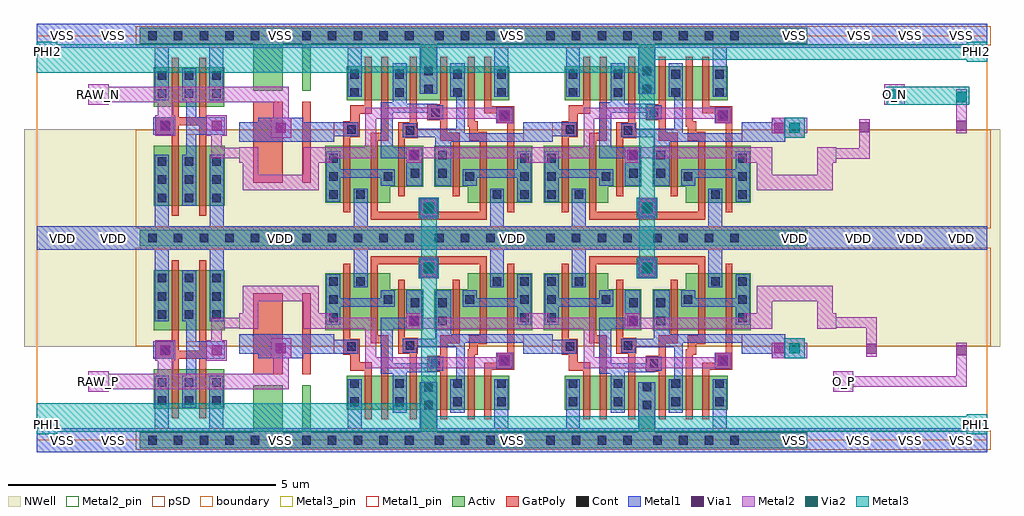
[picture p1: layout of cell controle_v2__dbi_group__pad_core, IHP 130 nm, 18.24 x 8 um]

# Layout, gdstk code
import gdstk
lib = gdstk.Library(unit=1e-6, precision=1e-09)
def R(c, l, rs):  # rectangles x0, y0, x1, y1
    for r in rs: c.add(gdstk.rectangle(r[:2], r[2:], *l))
def A(c, l, x, y, w, h, nx, ny, dx, dy):  # array of equal rectangles
    R(c, l, [(x+i*dx, y+j*dy, x+i*dx+w, y+j*dy+h) for i in range(nx) for j in range(ny)])
def P(c, l, *ps):  # polygons
    for p in ps: c.add(gdstk.Polygon(p, *l))
Activ = (1, 0)
GatPoly = (5, 0)
Cont = (6, 0)
Metal1 = (8, 0)
Metal1_pin = (8, 2)
Metal2 = (10, 0)
Metal2_pin = (10, 2)
pSD = (14, 0)
Via1 = (19, 0)
Via2 = (29, 0)
Metal3 = (30, 0)
Metal3_pin = (30, 2)
NWell = (31, 0)
boundary = (189, 4)

controle_v2__dbi_group__ = lib.new_cell('controle_v2__dbi_group__sg13cmos5l_inv_2')
R(controle_v2__dbi_group__, Activ, [(0,-0.15,1.92,0.15), (0.265,0.59,1.585,1.33), (0.265,2.06,1.59,3.18), (0,3.63,1.92,3.93)])
P(controle_v2__dbi_group__, GatPoly, [(0.605,0.41),(0.605,1.52),(0.305,1.52),(0.305,1.85),(0.605,1.85),(0.605,3.36),(0.735,3.36),(0.735,1.67),(1.115,1.67),(1.115,3.36),(1.245,3.36),(1.245,0.41),(1.115,0.41),(1.115,1.52),(0.735,1.52),(0.735,0.41)])
A(controle_v2__dbi_group__, Cont, 0.335, 0.66, 0.16, 0.16, 3, 2, 0.51, 0.34)
A(controle_v2__dbi_group__, Cont, 0.335, 2.27, 0.16, 0.16, 1, 3, 0, 0.34)
A(controle_v2__dbi_group__, Cont, 0.845, 2.27, 0.16, 0.16, 1, 3, 0, 0.34)
A(controle_v2__dbi_group__, Cont, 1.36, 2.27, 0.16, 0.16, 1, 3, 0, 0.34)
R(controle_v2__dbi_group__, Cont, [(0.16,-0.08,0.32,0.08), (0.16,-0.08,0.32,0.08), (0.64,-0.08,0.8,0.08), (0.64,-0.08,0.8,0.08), (1.12,-0.08,1.28,0.08), (1.12,-0.08,1.28,0.08), (1.6,-0.08,1.76,0.08), (1.6,-0.08,1.76,0.08), (0.39,1.605,0.55,1.765), (0.16,3.7,0.32,3.86), (0.16,3.7,0.32,3.86), (0.64,3.7,0.8,3.86), (0.64,3.7,0.8,3.86), (1.12,3.7,1.28,3.86), (1.12,3.7,1.28,3.86), (1.6,3.7,1.76,3.86), (1.6,3.7,1.76,3.86)])
R(controle_v2__dbi_group__, Metal1, [(0.255,1.52,0.635,1.85)])
P(controle_v2__dbi_group__, Metal1, [(0.795,0.61),(0.795,1.21),(0.87,1.21),(0.87,2.22),(0.795,2.22),(0.795,3.18),(1.055,3.18),(1.055,1.85),(1.59,1.85),(1.59,1.52),(1.055,1.52),(1.055,0.61)],
  [(0,-0.22),(0,0.22),(0.285,0.22),(0.285,1.21),(0.545,1.21),(0.545,0.22),(1.305,0.22),(1.305,1.21),(1.565,1.21),(1.565,0.22),(1.92,0.22),(1.92,-0.22)],
  [(0.285,2.22),(0.285,3.56),(0,3.56),(0,4),(1.92,4),(1.92,3.56),(1.57,3.56),(1.57,2.22),(1.31,2.22),(1.31,3.56),(0.545,3.56),(0.545,2.22)])
R(controle_v2__dbi_group__, Metal1_pin, [(0,-0.22,1.92,0.22), (0.255,1.52,0.635,1.85), (0.87,1.52,1.59,1.85), (0,3.56,1.92,4)])
R(controle_v2__dbi_group__, pSD, [(-0.07,-0.18,1.99,0.18), (-0.07,1.76,1.99,3.6)])
R(controle_v2__dbi_group__, NWell, [(-0.24,1.75,2.16,4.17)])
R(controle_v2__dbi_group__, boundary, [(0,0,1.92,3.78)])
controle_v2__dbi_group__.add(gdstk.Label('A', (0.48,1.68), layer=8, texttype=25))
controle_v2__dbi_group__.add(gdstk.Label('Y', (1.44,1.68), layer=8, texttype=25))
controle_v2__dbi_group__.add(gdstk.Label('VDD', (0.935,3.785), layer=8, texttype=25))
controle_v2__dbi_group__.add(gdstk.Label('VSS', (0.89,0), layer=8, texttype=25))

c_controle_v2__dbi_group__ = lib.new_cell('controle_v2__dbi_group__srlatch_abut')
R(c_controle_v2__dbi_group__, Activ, [(0,-0.15,4.08,0.15), (1.89,0.15,2.19,0.57), (0.51,0.57,3.55,1.21), (0,3.63,4.08,3.93)])
P(c_controle_v2__dbi_group__, Activ, [(0.11,2.06),(0.11,3.12),(1.32,3.12),(1.32,2.82),(1.94,2.82),(1.94,2.06)],
  [(2.15,2.06),(2.15,2.82),(2.77,2.82),(2.77,3.12),(3.98,3.12),(3.98,2.06)])
R(c_controle_v2__dbi_group__, GatPoly, [(0.58,1.46,0.75,1.6), (0.45,2.03,0.58,3.3)])
P(c_controle_v2__dbi_group__, GatPoly, [(0.85,0.39),(0.85,1.3),(0.58,1.3),(0.58,1.46),(0.98,1.46),(0.98,0.39)],
  [(0.45,1.6),(0.45,2.3),(0.58,2.3),(0.58,1.9),(0.75,1.9),(0.75,1.6)],
  [(1.16,0.39),(1.16,1.81),(0.96,1.81),(0.96,3.44),(3.13,3.44),(3.13,1.79),(2.96,1.79),(2.96,1.6),(2.9,1.6),(2.9,0.39),(2.77,0.39),(2.77,1.7),(2.8,1.7),(2.8,1.96),(3,1.96),(3,3.285),(2.195,3.285),(2.195,3.05),(1.895,3.05),(1.895,3.285),(1.09,3.285),(1.09,1.96),(1.29,1.96),(1.29,0.39)],
  [(1.69,0.39),(1.69,1.62),(1.47,1.62),(1.47,3),(1.6,3),(1.6,1.92),(1.84,1.92),(1.84,1.62),(1.82,1.62),(1.82,0.39)],
  [(2.26,0.39),(2.26,1.28),(2.02,1.28),(2.02,1.58),(2.26,1.58),(2.26,1.96),(2.49,1.96),(2.49,3),(2.62,3),(2.62,1.81),(2.39,1.81),(2.39,0.39)],
  [(3.08,0.39),(3.08,1.45),(3.33,1.45),(3.33,1.62),(3.51,1.62),(3.51,3.3),(3.64,3.3),(3.64,1.32),(3.21,1.32),(3.21,0.39)])
A(c_controle_v2__dbi_group__, Cont, 0.16, -0.08, 0.16, 0.16, 4, 2, 0.48, 3.78)
A(c_controle_v2__dbi_group__, Cont, 2.16, -0.08, 0.16, 0.16, 4, 2, 0.48, 3.78)
A(c_controle_v2__dbi_group__, Cont, 0.18, 2.21, 0.16, 0.16, 1, 3, 0, 0.34)
A(c_controle_v2__dbi_group__, Cont, 3.75, 2.21, 0.16, 0.16, 1, 3, 0, 0.34)
R(c_controle_v2__dbi_group__, Cont, [(1.96,0.58,2.12,0.74), (0.58,0.64,0.74,0.8), (1.42,0.64,1.58,0.8), (2.5,0.64,2.66,0.8), (3.32,0.64,3.48,0.8), (1.96,0.92,2.12,1.08), (0.58,0.98,0.74,1.14), (1.42,0.98,1.58,1.14), (2.5,0.98,2.66,1.14), (3.32,0.98,3.48,1.14), (2.09,1.35,2.25,1.51), (3.4,1.39,3.56,1.55), (0.52,1.67,0.68,1.83), (1.61,1.69,1.77,1.85), (1.71,2.15,1.87,2.31), (2.22,2.15,2.38,2.31), (1.71,2.49,1.87,2.65), (2.22,2.49,2.38,2.65), (1.2,2.55,1.36,2.71), (2.73,2.55,2.89,2.71), (0.69,2.885,0.85,3.045), (3.24,2.885,3.4,3.045), (1.965,3.15,2.125,3.31)])
R(c_controle_v2__dbi_group__, Metal1, [(0,-0.22,4.08,0.22), (0.53,0.22,0.79,1.14), (1.88,0.22,2.2,1.08), (3.27,0.22,3.53,1.14), (3.31,1.34,3.61,1.64), (3.315,1.345,3.605,1.635), (3.81,1.62,4.15,1.98), (2.715,1.82,3.81,1.98), (1.625,2.085,1.915,2.375), (0.64,2.86,0.9,3.56), (3.19,2.86,3.45,3.56), (1.875,3.05,2.215,3.38), (0,3.56,4.08,4)])
P(c_controle_v2__dbi_group__, Metal1, [(-0.06,1.62),(-0.06,1.98),(0.28,1.98),(0.28,1.88),(0.73,1.88),(0.73,1.62)],
  [(2.45,0.51),(2.45,1.14),(2.555,1.14),(2.555,1.74),(1.82,1.74),(1.82,1.64),(1.56,1.64),(1.56,1.9),(2.17,1.9),(2.17,2.8),(2.465,2.8),(2.465,1.98),(2.715,1.98),(2.715,0.51)],
  [(0.13,2.16),(0.13,3.1),(0.39,3.1),(0.39,2.655),(1.15,2.655),(1.15,2.8),(1.41,2.8),(1.41,2.495),(0.39,2.495),(0.39,2.16)],
  [(1.37,0.51),(1.37,1.24),(1.15,1.24),(1.15,2.29),(1.625,2.29),(1.625,2.8),(1.92,2.8),(1.92,2.08),(1.375,2.08),(1.375,1.44),(2.04,1.44),(2.04,1.56),(2.315,1.56),(2.315,1.3),(2.19,1.3),(2.19,1.27),(1.63,1.27),(1.63,0.51)],
  [(3.7,2.16),(3.7,2.495),(2.68,2.495),(2.68,2.8),(2.94,2.8),(2.94,2.655),(3.7,2.655),(3.7,3.1),(3.96,3.1),(3.96,2.16)])
R(c_controle_v2__dbi_group__, Metal1_pin, [(0,-0.22,4.08,0.22), (-0.06,1.62,0.28,1.98), (3.81,1.62,4.15,1.98), (1.875,3.05,2.215,3.38), (0,3.56,4.08,4)])
P(c_controle_v2__dbi_group__, Metal2, [(0.86,1.345),(0.86,2.085),(-0.06,2.085),(-0.06,2.375),(0.23,2.375),(0.23,2.29),(1.06,2.29),(1.06,1.55),(3.315,1.55),(3.315,1.635),(3.605,1.635),(3.605,1.345)],
  [(1.625,2.085),(1.625,2.375),(1.915,2.375),(1.915,2.29),(3.86,2.29),(3.86,2.375),(4.15,2.375),(4.15,2.085)])
R(c_controle_v2__dbi_group__, Metal2_pin, [(-0.06,2.085,0.23,2.375), (3.86,2.085,4.15,2.375)])
R(c_controle_v2__dbi_group__, pSD, [(-0.07,-0.18,4.15,0.18), (-0.07,1.76,4.16,3.6)])
R(c_controle_v2__dbi_group__, Via1, [(3.365,1.395,3.555,1.585), (1.675,2.135,1.865,2.325)])
R(c_controle_v2__dbi_group__, NWell, [(-0.24,1.75,4.32,4.17)])
R(c_controle_v2__dbi_group__, boundary, [(0,0,4.08,3.78)])
c_controle_v2__dbi_group__.add(gdstk.Label('LATCH', (2.045,3.22), layer=8, texttype=25))
c_controle_v2__dbi_group__.add(gdstk.Label('DP', (0.08,1.8), layer=8, texttype=25))
c_controle_v2__dbi_group__.add(gdstk.Label('QP', (4,1.81), layer=8, texttype=25))
c_controle_v2__dbi_group__.add(gdstk.Label('VDD', (1.22,3.8), layer=8, texttype=25))
c_controle_v2__dbi_group__.add(gdstk.Label('VSS', (1.195,0.005), layer=8, texttype=25))
c_controle_v2__dbi_group__.add(gdstk.Label('DN', (0.07,2.23), layer=10, texttype=25))
c_controle_v2__dbi_group__.add(gdstk.Label('QN', (4.01,2.23), layer=10, texttype=25))

c_controle_v2__dbi_group___ = lib.new_cell('controle_v2__dbi_group__pad_core')
R(c_controle_v2__dbi_group___, Activ, [(3.84,-0.15,4.8,0.15), (4.8,-0.15,5.28,0.15), (13.44,-0.15,14.4,0.15), (4.04,0.15,4.6,1.03), (4.96,0.15,5.12,1.03), (3.84,3.63,4.8,3.93), (3.84,3.63,4.8,3.93), (4.8,3.63,5.28,3.93), (4.8,3.63,5.28,3.93), (13.44,3.63,14.4,3.93), (13.44,3.63,14.4,3.93), (4.04,6.53,4.6,7.41), (4.96,6.53,5.12,7.41), (3.84,7.41,4.8,7.71), (4.8,7.41,5.28,7.71), (13.44,7.41,14.4,7.71)])
R(c_controle_v2__dbi_group___, GatPoly, [(4.04,1.23,4.6,2.75), (4.96,1.23,5.12,2.75), (4.04,4.81,4.6,6.33), (4.96,4.81,5.12,6.33)])
R(c_controle_v2__dbi_group___, Cont, [(4,-0.08,4.16,0.08), (4,-0.08,4.16,0.08), (4.48,-0.08,4.64,0.08), (4.48,-0.08,4.64,0.08), (4.96,-0.08,5.12,0.08), (4.96,-0.08,5.12,0.08), (4,3.7,4.16,3.86), (4,3.7,4.16,3.86), (4,3.7,4.16,3.86), (4,3.7,4.16,3.86), (4.48,3.7,4.64,3.86), (4.48,3.7,4.64,3.86), (4.48,3.7,4.64,3.86), (4.48,3.7,4.64,3.86), (4.96,3.7,5.12,3.86), (4.96,3.7,5.12,3.86), (4.96,3.7,5.12,3.86), (4.96,3.7,5.12,3.86), (4,7.48,4.16,7.64), (4,7.48,4.16,7.64), (4.48,7.48,4.64,7.64), (4.48,7.48,4.64,7.64), (4.96,7.48,5.12,7.64), (4.96,7.48,5.12,7.64)])
A(c_controle_v2__dbi_group___, Metal1, 14.88, -0.22, 0.96, 0.44, 3, 2, 0.96, 7.56)
R(c_controle_v2__dbi_group___, Metal1, [(0,-0.22,0.96,0.22), (0.96,-0.22,1.92,0.22), (3.84,-0.22,4.8,0.22), (4.8,-0.22,5.28,0.22), (13.44,-0.22,14.4,0.22), (14.4,-0.22,14.88,0.22), (4.14,1.53,4.98,1.98), (13.74,1.53,13.985,1.98), (3.78,1.62,5.34,1.98), (13.38,1.62,13.985,1.98), (0,3.56,0.96,4), (0,3.56,0.96,4), (0.96,3.56,1.92,4), (0.96,3.56,1.92,4), (3.84,3.56,4.8,4), (3.84,3.56,4.8,4), (4.8,3.56,5.28,4), (4.8,3.56,5.28,4), (13.44,3.56,14.4,4), (13.44,3.56,14.4,4), (14.4,3.56,14.88,4), (14.4,3.56,14.88,4), (14.88,3.56,15.84,4), (14.88,3.56,15.84,4), (15.84,3.56,16.8,4), (15.84,3.56,16.8,4), (16.8,3.56,17.76,4), (16.8,3.56,17.76,4), (3.78,5.58,5.34,5.94), (4.14,5.58,4.98,6.03), (13.38,5.58,13.985,5.94), (13.74,5.58,13.985,6.03), (0,7.34,0.96,7.78), (0.96,7.34,1.92,7.78), (3.84,7.34,4.8,7.78), (4.8,7.34,5.28,7.78), (13.44,7.34,14.4,7.78), (14.4,7.34,14.88,7.78)])
A(c_controle_v2__dbi_group___, Metal1_pin, 8.66, -0.22, 0.44, 0.44, 1, 3, 0, 3.78)
A(c_controle_v2__dbi_group___, Metal1_pin, 14.88, -0.22, 0.96, 0.44, 3, 2, 0.96, 7.56)
R(c_controle_v2__dbi_group___, Metal1_pin, [(0,-0.22,0.96,0.22), (0.96,-0.22,1.92,0.22), (3.84,-0.22,4.8,0.22), (4.8,-0.22,5.28,0.22), (13.44,-0.22,14.4,0.22), (14.4,-0.22,14.88,0.22), (4.14,1.53,4.98,1.98), (13.74,1.53,13.985,1.98), (3.78,1.62,5.34,1.98), (13.38,1.62,13.985,1.98), (0,3.56,0.96,4), (0,3.56,0.96,4), (0.96,3.56,1.92,4), (0.96,3.56,1.92,4), (3.84,3.56,4.8,4), (3.84,3.56,4.8,4), (4.8,3.56,5.28,4), (4.8,3.56,5.28,4), (13.44,3.56,14.4,4), (13.44,3.56,14.4,4), (14.4,3.56,14.88,4), (14.4,3.56,14.88,4), (14.88,3.56,15.84,4), (14.88,3.56,15.84,4), (15.84,3.56,16.8,4), (15.84,3.56,16.8,4), (16.8,3.56,17.76,4), (16.8,3.56,17.76,4), (3.78,5.58,5.34,5.94), (4.14,5.58,4.98,6.03), (13.38,5.58,13.985,5.94), (13.74,5.58,13.985,6.03), (0,7.34,0.96,7.78), (0.96,7.34,1.92,7.78), (3.84,7.34,4.8,7.78), (4.8,7.34,5.28,7.78), (13.44,7.34,14.4,7.78), (14.4,7.34,14.88,7.78)])
R(c_controle_v2__dbi_group___, Metal2, [(14.88,0.91,15.26,1.29), (15.26,1,17.38,1.2), (17.18,1,17.38,1.825), (3.17,1.49,3.55,1.87), (13.97,1.53,14.35,1.91), (13.735,1.535,14.4,1.825), (15.5,1.565,15.7,2.3), (3.26,1.87,3.46,2.29), (3.26,2.09,3.8,2.29), (14.87,2.1,15.7,2.3), (7.135,3.03,7.515,3.41), (11.215,3.03,11.595,3.41), (7.135,4.15,7.515,4.53), (11.215,4.15,11.595,4.53), (14.87,5.26,15.565,5.46), (15.365,5.26,15.565,5.995), (3.26,5.27,3.46,5.69), (3.26,5.27,3.8,5.47), (13.97,5.65,14.35,6.03), (3.17,5.69,3.55,6.07), (13.735,5.735,14.4,6.025), (17.18,5.735,17.38,6.56), (15.84,6.27,16.22,6.65)])
P(c_controle_v2__dbi_group___, Metal2, [(0.96,0.91),(0.96,1.29),(1.34,1.29),(1.34,1.245),(2.255,1.245),(2.255,1.49),(2.21,1.49),(2.21,1.87),(2.59,1.87),(2.59,1.49),(2.545,1.49),(2.545,1.245),(4.415,1.245),(4.415,1.53),(4.37,1.53),(4.37,1.91),(4.75,1.91),(4.75,1.53),(4.705,1.53),(4.705,0.955),(1.34,0.955),(1.34,0.91)],
  [(3.78,2.085),(3.78,2.375),(3.85,2.375),(3.85,2.89),(5.27,2.89),(5.27,2.375),(5.34,2.375),(5.34,2.085),(4.98,2.085),(4.98,2.6),(4.14,2.6),(4.14,2.085)],
  [(13.38,2.085),(13.38,2.375),(13.45,2.375),(13.45,2.89),(14.87,2.89),(14.87,2.375),(14.94,2.375),(14.94,2.085),(14.58,2.085),(14.58,2.6),(13.74,2.6),(13.74,2.085)],
  [(3.85,4.67),(3.85,5.185),(3.78,5.185),(3.78,5.475),(4.14,5.475),(4.14,4.96),(4.98,4.96),(4.98,5.475),(5.34,5.475),(5.34,5.185),(5.27,5.185),(5.27,4.67)],
  [(13.45,4.67),(13.45,5.185),(13.38,5.185),(13.38,5.475),(13.74,5.475),(13.74,4.96),(14.58,4.96),(14.58,5.475),(14.94,5.475),(14.94,5.185),(14.87,5.185),(14.87,4.67)],
  [(4.37,5.65),(4.37,6.03),(4.415,6.03),(4.415,6.315),(2.545,6.315),(2.545,6.07),(2.59,6.07),(2.59,5.69),(2.21,5.69),(2.21,6.07),(2.255,6.07),(2.255,6.315),(1.34,6.315),(1.34,6.27),(0.96,6.27),(0.96,6.65),(1.34,6.65),(1.34,6.605),(4.705,6.605),(4.705,6.03),(4.75,6.03),(4.75,5.65)])
R(c_controle_v2__dbi_group___, Metal2_pin, [(0.96,0.91,1.34,1.29), (0.96,0.91,1.34,1.29), (14.88,0.91,15.26,1.29), (14.88,0.91,15.26,1.29), (4.37,1.53,4.75,1.91), (13.97,1.53,14.35,1.91), (3.78,2.085,4.14,2.375), (3.85,2.085,4.14,2.89), (4.98,2.085,5.34,2.375), (4.98,2.085,5.27,2.89), (13.38,2.085,13.74,2.375), (13.45,2.085,13.74,2.89), (14.58,2.085,14.94,2.375), (14.58,2.085,14.87,2.89), (3.85,2.6,5.27,2.89), (13.45,2.6,14.87,2.89), (3.85,4.67,4.14,5.475), (3.85,4.67,5.27,4.96), (4.98,4.67,5.27,5.475), (13.45,4.67,13.74,5.475), (13.45,4.67,14.87,4.96), (14.58,4.67,14.87,5.475), (3.78,5.185,4.14,5.475), (4.98,5.185,5.34,5.475), (13.38,5.185,13.74,5.475), (14.58,5.185,14.94,5.475), (4.37,5.65,4.75,6.03), (13.97,5.65,14.35,6.03), (0.96,6.27,1.34,6.65), (0.96,6.27,1.34,6.65), (15.84,6.27,16.22,6.65), (15.84,6.27,16.22,6.65)])
A(c_controle_v2__dbi_group___, pSD, 14.81, -0.18, 1.1, 0.36, 3, 2, 0.96, 7.56)
A(c_controle_v2__dbi_group___, pSD, 14.81, 1.76, 1.1, 1.84, 3, 2, 0.96, 2.2)
R(c_controle_v2__dbi_group___, pSD, [(3.77,-0.18,4.87,0.18), (4.73,-0.18,5.35,0.18), (13.37,-0.18,14.47,0.18), (14.33,-0.18,14.95,0.18), (3.77,1.76,4.87,3.6), (4.73,1.76,5.35,3.6), (13.37,1.76,14.47,3.6), (14.33,1.76,14.95,3.6), (3.77,3.96,4.87,5.8), (4.73,3.96,5.35,5.8), (13.37,3.96,14.47,5.8), (14.33,3.96,14.95,5.8), (3.77,7.38,4.87,7.74), (4.73,7.38,5.35,7.74), (13.37,7.38,14.47,7.74), (14.33,7.38,14.95,7.74)])
R(c_controle_v2__dbi_group___, Via1, [(2.305,1.585,2.495,1.775), (3.265,1.585,3.455,1.775), (17.185,1.585,17.375,1.775), (15.505,1.615,15.695,1.805), (4.465,1.625,4.655,1.815), (13.785,1.625,13.975,1.815), (7.23,3.125,7.42,3.315), (11.31,3.125,11.5,3.315), (7.23,4.245,7.42,4.435), (11.31,4.245,11.5,4.435), (4.465,5.745,4.655,5.935), (13.785,5.745,13.975,5.935), (15.37,5.755,15.56,5.945), (2.305,5.785,2.495,5.975), (3.265,5.785,3.455,5.975), (17.185,5.785,17.375,5.975)])
R(c_controle_v2__dbi_group___, Via2, [(14.065,1.625,14.255,1.815), (7.23,3.125,7.42,3.315), (11.31,3.125,11.5,3.315), (7.23,4.245,7.42,4.435), (11.31,4.245,11.5,4.435), (14.065,5.745,14.255,5.935), (17.185,6.32,17.375,6.51), (15.935,6.365,16.125,6.555)])
R(c_controle_v2__dbi_group___, Metal3, [(13.97,1.53,14.35,1.91), (13.97,5.65,14.35,6.03), (15.885,6.27,17.425,6.605)])
P(c_controle_v2__dbi_group___, Metal3, [(0,7.07),(0,7.45),(0.38,7.45),(0.38,7.405),(17.38,7.405),(17.38,7.45),(17.76,7.45),(17.76,7.07),(17.38,7.07),(17.38,7.115),(0.38,7.115),(0.38,7.07)],
  [(0,0.245),(0,0.69),(7.18,0.69),(7.18,3.03),(7.135,3.03),(7.135,3.41),(7.18,3.41),(7.18,4.15),(7.135,4.15),(7.135,4.53),(7.515,4.53),(7.515,4.15),(7.47,4.15),(7.47,3.41),(7.515,3.41),(7.515,3.03),(7.47,3.03),(7.47,0.4),(0.38,0.4),(0.38,0.245)],
  [(11.215,3.03),(11.215,3.41),(11.26,3.41),(11.26,4.15),(11.215,4.15),(11.215,4.53),(11.26,4.53),(11.26,6.87),(0,6.87),(0,7.315),(0.38,7.315),(0.38,7.16),(11.55,7.16),(11.55,4.53),(11.595,4.53),(11.595,4.15),(11.55,4.15),(11.55,3.41),(11.595,3.41),(11.595,3.03)],
  [(0,0.11),(0,0.49),(0.38,0.49),(0.38,0.445),(17.38,0.445),(17.38,0.49),(17.76,0.49),(17.76,0.11),(17.38,0.11),(17.38,0.155),(0.38,0.155),(0.38,0.11)])
R(c_controle_v2__dbi_group___, Metal3_pin, [(13.97,1.53,14.35,1.91), (13.97,5.65,14.35,6.03)])
A(c_controle_v2__dbi_group___, NWell, 14.64, 1.75, 1.44, 2.42, 3, 2, 0.96, 1.64)
R(c_controle_v2__dbi_group___, NWell, [(-0.24,1.75,1.2,4.17), (0.72,1.75,2.16,4.17), (3.6,1.75,5.04,4.17), (4.56,1.75,5.52,4.17), (13.2,1.75,14.64,4.17), (14.16,1.75,15.12,4.17), (-0.24,3.39,1.2,5.81), (0.72,3.39,2.16,5.81), (3.6,3.39,5.04,5.81), (4.56,3.39,5.52,5.81), (13.2,3.39,14.64,5.81), (14.16,3.39,15.12,5.81)])
A(c_controle_v2__dbi_group___, boundary, 14.88, 0, 0.96, 3.78, 3, 2, 0.96, 3.78)
R(c_controle_v2__dbi_group___, boundary, [(0,0,17.76,7.56), (0,0,0.96,3.78), (0.96,0,1.92,3.78), (3.84,0,5.28,3.78), (13.44,0,14.88,3.78), (0,3.78,0.96,7.56), (0.96,3.78,1.92,7.56), (3.84,3.78,5.28,7.56), (13.44,3.78,14.88,7.56)])
c_controle_v2__dbi_group___.add(gdstk.Reference(controle_v2__dbi_group__, (1.92,0)))
c_controle_v2__dbi_group___.add(gdstk.Reference(controle_v2__dbi_group__, (1.92,7.56), x_reflection=True))
c_controle_v2__dbi_group___.add(gdstk.Reference(c_controle_v2__dbi_group__, (5.28,0)))
c_controle_v2__dbi_group___.add(gdstk.Reference(c_controle_v2__dbi_group__, (9.36,0)))
c_controle_v2__dbi_group___.add(gdstk.Reference(c_controle_v2__dbi_group__, (5.28,7.56), x_reflection=True))
c_controle_v2__dbi_group___.add(gdstk.Reference(c_controle_v2__dbi_group__, (9.36,7.56), x_reflection=True))
c_controle_v2__dbi_group___.add(gdstk.Label('VSS', (0.48,0), layer=8, texttype=25))
c_controle_v2__dbi_group___.add(gdstk.Label('VDD', (0.48,3.78), layer=8, texttype=25))
c_controle_v2__dbi_group___.add(gdstk.Label('VSS', (1.44,0), layer=8, texttype=25))
c_controle_v2__dbi_group___.add(gdstk.Label('VDD', (1.44,3.78), layer=8, texttype=25))
c_controle_v2__dbi_group___.add(gdstk.Label('VSS', (4.56,0), layer=8, texttype=25))
c_controle_v2__dbi_group___.add(gdstk.Label('VDD', (4.56,3.78), layer=8, texttype=25))
c_controle_v2__dbi_group___.add(gdstk.Label('VSS', (14.16,0), layer=8, texttype=25))
c_controle_v2__dbi_group___.add(gdstk.Label('VDD', (14.16,3.78), layer=8, texttype=25))
c_controle_v2__dbi_group___.add(gdstk.Label('VSS', (15.36,0), layer=8, texttype=25))
c_controle_v2__dbi_group___.add(gdstk.Label('VDD', (15.36,3.78), layer=8, texttype=25))
c_controle_v2__dbi_group___.add(gdstk.Label('VDD', (16.335,3.78), layer=8, texttype=25))
c_controle_v2__dbi_group___.add(gdstk.Label('VSS', (16.33,0), layer=8, texttype=25))
c_controle_v2__dbi_group___.add(gdstk.Label('VSS', (17.28,0), layer=8, texttype=25))
c_controle_v2__dbi_group___.add(gdstk.Label('VDD', (17.28,3.78), layer=8, texttype=25))
c_controle_v2__dbi_group___.add(gdstk.Label('VSS', (0.48,7.56), layer=8, texttype=25))
c_controle_v2__dbi_group___.add(gdstk.Label('VDD', (0.48,3.78), layer=8, texttype=25))
c_controle_v2__dbi_group___.add(gdstk.Label('VSS', (1.44,7.56), layer=8, texttype=25))
c_controle_v2__dbi_group___.add(gdstk.Label('VDD', (1.44,3.78), layer=8, texttype=25))
c_controle_v2__dbi_group___.add(gdstk.Label('VSS', (4.56,7.56), layer=8, texttype=25))
c_controle_v2__dbi_group___.add(gdstk.Label('VDD', (4.56,3.78), layer=8, texttype=25))
c_controle_v2__dbi_group___.add(gdstk.Label('VSS', (14.16,7.56), layer=8, texttype=25))
c_controle_v2__dbi_group___.add(gdstk.Label('VDD', (14.16,3.78), layer=8, texttype=25))
c_controle_v2__dbi_group___.add(gdstk.Label('VDD', (15.375,3.78), layer=8, texttype=25))
c_controle_v2__dbi_group___.add(gdstk.Label('VSS', (15.37,7.56), layer=8, texttype=25))
c_controle_v2__dbi_group___.add(gdstk.Label('VSS', (16.32,7.56), layer=8, texttype=25))
c_controle_v2__dbi_group___.add(gdstk.Label('VDD', (16.32,3.78), layer=8, texttype=25))
c_controle_v2__dbi_group___.add(gdstk.Label('VSS', (17.28,7.56), layer=8, texttype=25))
c_controle_v2__dbi_group___.add(gdstk.Label('VDD', (17.28,3.78), layer=8, texttype=25))
c_controle_v2__dbi_group___.add(gdstk.Label('VSS', (8.88,0), layer=8, texttype=25))
c_controle_v2__dbi_group___.add(gdstk.Label('VDD', (8.88,3.78), layer=8, texttype=25))
c_controle_v2__dbi_group___.add(gdstk.Label('VSS', (8.88,7.56), layer=8, texttype=25))
c_controle_v2__dbi_group___.add(gdstk.Label('RAW_P', (1.15,1.1), layer=10, texttype=25))
c_controle_v2__dbi_group___.add(gdstk.Label('RAW_N', (1.15,6.46), layer=10, texttype=25))
c_controle_v2__dbi_group___.add(gdstk.Label('O_P', (15.07,1.1), layer=10, texttype=25))
c_controle_v2__dbi_group___.add(gdstk.Label('O_N', (16.03,6.46), layer=10, texttype=25))
c_controle_v2__dbi_group___.add(gdstk.Label('PHI1', (0.19,0.3), layer=30, texttype=25))
c_controle_v2__dbi_group___.add(gdstk.Label('PHI2', (0.19,7.26), layer=30, texttype=25))
c_controle_v2__dbi_group___.add(gdstk.Label('PHI1', (17.57,0.3), layer=30, texttype=25))
c_controle_v2__dbi_group___.add(gdstk.Label('PHI2', (17.57,7.26), layer=30, texttype=25))

lib.write_gds('controle_v2__dbi_group__pad_core.gds')
